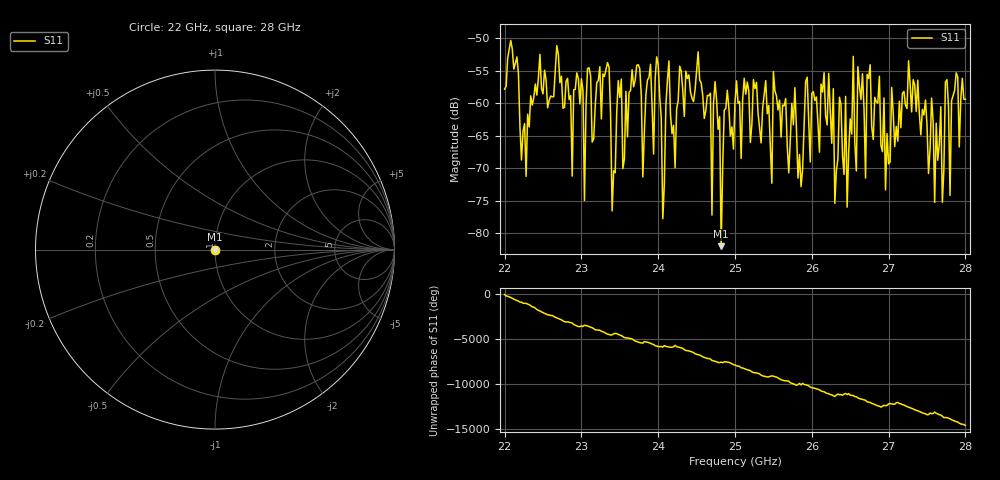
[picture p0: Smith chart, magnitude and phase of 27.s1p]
#  HZ  S  RI  R  50.00
! Rohde & Schwarz ZVA40 4Ports - Version 3.90 - 1145.1110k42 SN: 100403
! Date: 2023-10-04 06:57:03
! Measurement: S12
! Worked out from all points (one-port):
!   301 points, 22 GHz to 28 GHz, reference 50 ohm
!   lowest |S11| = -82.0 dB at 24.82 GHz (marker M1), VSWR 1.00, Z = 50 + j0.00119 ohm
!   |S11| at or under -10 dB: start of sweep to end of sweep
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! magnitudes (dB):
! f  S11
! 22 GHz  -57.8
! 22.76 GHz  -60.8
! 23 GHz  -56.2
! 23.04 GHz  -74.9
! 23.08 GHz  -54.6
! 23.34 GHz  -53.7
! 23.4 GHz  -76.6
! 23.5 GHz  -59.1
! 23.76 GHz  -54.7
! 23.8 GHz  -71.3
! 23.98 GHz  -52.9
! 24.06 GHz  -77.8
! 24.14 GHz  -53.5
! 24.26 GHz  -59.6
! 24.68 GHz  -58.5
! 24.7 GHz  -77.2
! 24.74 GHz  -56.7
! 24.82 GHz  -82.0
! 24.86 GHz  -61.0
! 25 GHz  -59.9
! 25.76 GHz  -63.3
! 26.46 GHz  -76.0
! 26.5 GHz  -62.4
! 26.88 GHz  -55.9
! 26.96 GHz  -73.3
! 27.26 GHz  -53.5
! 27.6 GHz  -75.2
! 28 GHz  -59.4
